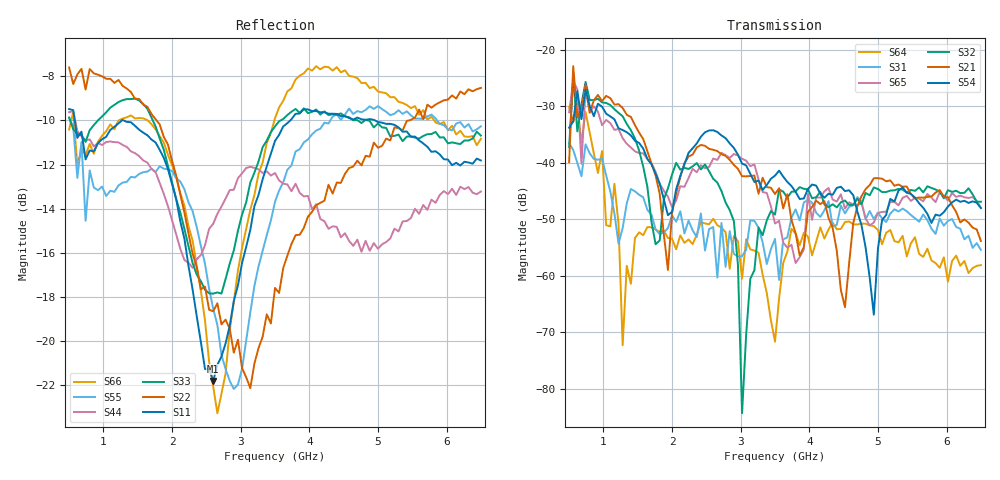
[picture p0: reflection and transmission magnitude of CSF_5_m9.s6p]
!Keysight Technologies,M9804A,MY58100912,A.14.10.03
!Date: Thursday, April 27, 2023 10:28:33
!Correction: S11(C  6-Port  )
!S12(C  6-Port  )
!S13(C  6-Port  )
!S14(C  6-Port  )
!S15(C  6-Port  )
!S16(C  6-Port  )
!S21(C  6-Port  )
!S22(C  6-Port  )
!S23(C  6-Port  )
!S24(C  6-Port  )
!S25(C  6-Port  )
!S26(C  6-Port  )
!S31(C  6-Port  )
!S32(C  6-Port  )
!S33(C  6-Port  )
!S34(C  6-Port  )
!S35(C  6-Port  )
!S36(C  6-Port  )
!S41(C  6-Port  )
!S42(C  6-Port  )
!S43(C  6-Port  )
!S44(C  6-Port  )
!S45(C  6-Port  )
!S46(C  6-Port  )
!S51(C  6-Port  )
!S52(C  6-Port  )
!S53(C  6-Port  )
!S54(C  6-Port  )
!S55(C  6-Port  )
!S56(C  6-Port  )
!S61(C  6-Port  )
!S62(C  6-Port  )
!S63(C  6-Port  )
!S64(C  6-Port  )
!S65(C  6-Port  )
!S66(C  6-Port  )
!S6P File: Measurement: :
# Hz S  RI  R 50
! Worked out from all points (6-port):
!   101 points, 500 MHz to 6.5 GHz, reference 50 ohm
!   strongest paths, dB at 500 MHz, 2 GHz, 3.5 GHz, 5 GHz, 6.5 GHz:
!     S54: -33.8, -48.7, -42.3, -55.3, -48.1
!     S21: -39.9, -48.9, -45.6, -42.8, -53.9
!     S32: -37.3, -42.1, -49.2, -44.7, -46.9
!     S65: -31.1, -48.0, -50.8, -48.9, -48.0
!     S31: -36.6, -49.4, -53.5, -48.8, -55.4
!     S64: -30.1, -53.5, -71.7, -51.9, -58.2
!   lowest |S11| = -21.8 dB at 2.6 GHz (marker M1), VSWR 1.18, Z = 42.7 + j1.9 ohm
!   |S11| at or under -10 dB: 582.3 MHz to 1.271 GHz (688.4 MHz wide, 74.3 % of centre); 1.296 GHz to 3.721 GHz (2.425 GHz wide, 96.7 % of centre); 4.957 GHz to end of sweep
